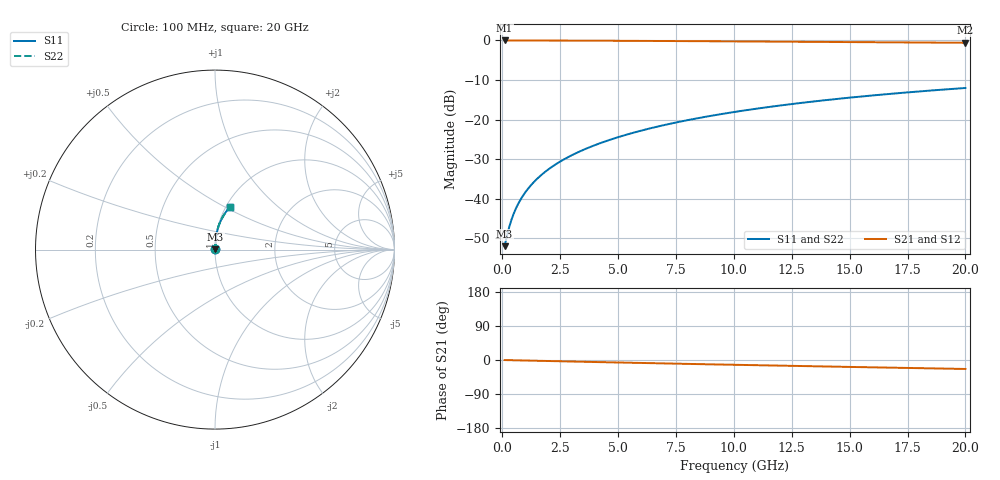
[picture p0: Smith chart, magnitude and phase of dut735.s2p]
! Touchstone file exported from HFSS 2024.1.0
!  File:  C:/UserFiles/LocalFiles/RDL_TSV_Batchsim/temp_RDL_bottom_735_1779859091.aedt
!  Generated:  01:20:31 PM May 27, 2026
!  Design:  RDL_bottom
!  Project:  temp_RDL_bottom_735_1779859091
!  Setup:  Setup1
!  Solution:  Sweep
! Variables:
!  dtsv = 10.80580581um
!  hbump = 3um
!  htsv = 51.02um
!  ldown = 318.85um
!  lrdl = 100um
!  p = 40
!  p1 = 42.21um
!  rhole = 1um
!  t = 450um
!  tdown = 3.12um
!  trdl = 3.915915916um
!  wdown = 18.49um
!  wrdl = 20um
# GHz S MA R 50.000000
! Terminal data exported
! Port[1] = RDL1_T1
! Port[2] = RDL1_T2
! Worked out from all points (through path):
!   200 points, 100 MHz to 20 GHz, reference 50 ohm
!   highest |S21| = -0.02 dB at 100 MHz (marker M1); lowest = -0.6 dB at 20 GHz (marker M2)
!   group delay of S21, straight-line fit = 3.26 ps
!   lowest |S11| = -52.0 dB at 100 MHz (marker M3), VSWR 1.01, Z = 50.2 + j0.128 ohm
!   |S11| at or under -10 dB: start of sweep to end of sweep
!   |S22| runs from -52.0 to -12.0 dB; largest |S21 - S12| = 2.4e-15
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0.1  0.002518 30.5  0.9978 -0.1  0.9978 -0.1  0.002518 30.5
! Gamma 0 0 0 0
! Port Impedance 50 0 50 0
0.2  0.003373 48.5  0.9978 -0.3  0.9978 -0.3  0.003373 48.5
0.3  0.004398 58.2  0.9977 -0.4  0.9977 -0.4  0.004398 58.2
0.4  0.005473 64.1  0.9975 -0.6  0.9975 -0.6  0.005473 64.1
0.5  0.006564 68.0  0.9974 -0.7  0.9974 -0.7  0.006564 68.0
0.6  0.007663 70.8  0.9973 -0.8  0.9973 -0.8  0.007663 70.8
0.8  0.00988 74.7  0.9972 -1.1  0.9972 -1.1  0.00988 74.7
1.1  0.01325 78.3  0.9969 -1.5  0.9969 -1.5  0.01325 78.3
1.3  0.01553 79.9  0.9967 -1.8  0.9967 -1.8  0.01553 79.9
1.6  0.01897 81.5  0.9963 -2.2  0.9963 -2.2  0.01897 81.5
2.1  0.02478 83.3  0.9956 -2.8  0.9956 -2.8  0.02478 83.3
2.7  0.03185 84.4  0.9946 -3.6  0.9946 -3.6  0.03185 84.4
3.5  0.04145 85.2  0.9929 -4.7  0.9929 -4.7  0.04145 85.2
4.2  0.04999 85.4  0.9911 -5.6  0.9911 -5.6  0.04999 85.4
5  0.05991 85.4  0.9888 -6.6  0.9888 -6.6  0.05991 85.4
5.9  0.07125 85.2  0.986 -7.7  0.986 -7.7  0.07125 85.2
6.8  0.08276 84.7  0.983 -8.8  0.983 -8.8  0.08276 84.7
8.4  0.1035 83.5  0.9774 -10.8  0.9774 -10.8  0.1035 83.5
10.1  0.1257 81.9  0.9711 -12.8  0.9711 -12.8  0.1257 81.9
13.4  0.1687 78.3  0.9586 -16.5  0.9586 -16.5  0.1687 78.3
16.7  0.2105 74.5  0.9456 -20.1  0.9456 -20.1  0.2105 74.5
20  0.2506 70.8  0.9322 -23.7  0.9322 -23.7  0.2506 70.8
